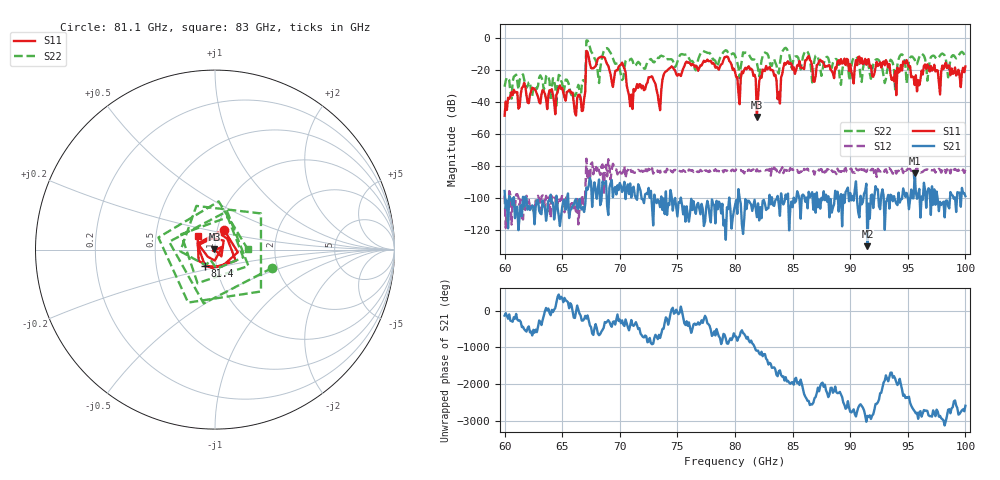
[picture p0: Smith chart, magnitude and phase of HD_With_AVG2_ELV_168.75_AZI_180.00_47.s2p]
! 11/25/2026 10:33:49 AM
! C:\ANRITSUVNA\TEMP\TEMP.S2P
! CHANNEL.1
! TR.MEASUREMENT
! RAW.DATA
# HZ S RI R 50.0
! FREQ.HZ  S11RE  S11IM  S21RE  S21IM  S12RE  S12IM  S22RE  S22IM
!; PortSelection: Port_12
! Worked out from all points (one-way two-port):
!   401 points, 60 GHz to 100 GHz, reference 50 ohm
!   highest |S21| = -84.67 dB at 95.6 GHz (marker M1); lowest = -130.0 dB at 91.5 GHz (marker M2)
!   lowest |S11| = -49.5 dB at 81.9 GHz (marker M3), VSWR 1.01, Z = 49.7 + j0.0695 ohm
!   |S11| at or under -10 dB: start of sweep to 67.09 GHz; 67.24 GHz to end of sweep
!   |S22| runs from -42.9 to -1.7 dB; largest |S21 - S12| = 0.00018
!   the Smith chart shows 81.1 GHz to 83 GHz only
!   S11 on the Smith chart (normalised r, x): 81.1 GHz: 1.08, +0.24; 81.4 GHz: 0.88, -0.17; 83 GHz: 0.81, +0.12
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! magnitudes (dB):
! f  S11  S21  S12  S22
! 60 GHz  -48.6  -95.6  -98.3  -30.5
! 61.6 GHz  -30.6  -99.2  -113.4  -22.8
! 66.7 GHz  -45.7  -107.1  -98.1  -29.5
! 67.3 GHz  -12.1  -92.3  -82.3  -3.1
! 68.4 GHz  -11.8  -101.9  -80.3  -14.7
! 70.3 GHz  -17.5  -93.8  -83.5  -25.5
! 70.9 GHz  -42.7  -90.9  -81.6  -13.5
! 72.7 GHz  -24.4  -95.5  -83.5  -13.3
! 73.4 GHz  -41.1  -102.4  -83.0  -12.6
! 74.4 GHz  -18.6  -95.0  -82.7  -13.4
! 80 GHz  -21.2  -104.6  -83.0  -11.0
! 81.1 GHz  -18.4  -101.6  -83.0  -9.5
! 81.4 GHz  -19.3  -104.0  -83.0  -13.0
! 81.9 GHz  -49.5  -111.9  -82.0  -15.7
! 83 GHz  -18.3  -98.0  -81.8  -14.8
! 83.8 GHz  -34.1  -103.6  -85.1  -22.3
! 84.4 GHz  -16.7  -97.8  -82.6  -6.3
! 86.7 GHz  -17.4  -96.3  -82.3  -27.9
! 91.5 GHz  -13.8  -130.0  -82.2  -15.1
! 93.4 GHz  -16.4  -106.6  -81.4  -15.6
! 95.6 GHz  -29.5  -84.7  -91.4  -13.6
! 100 GHz  -17.9  -98.8  -82.3  -12.1
